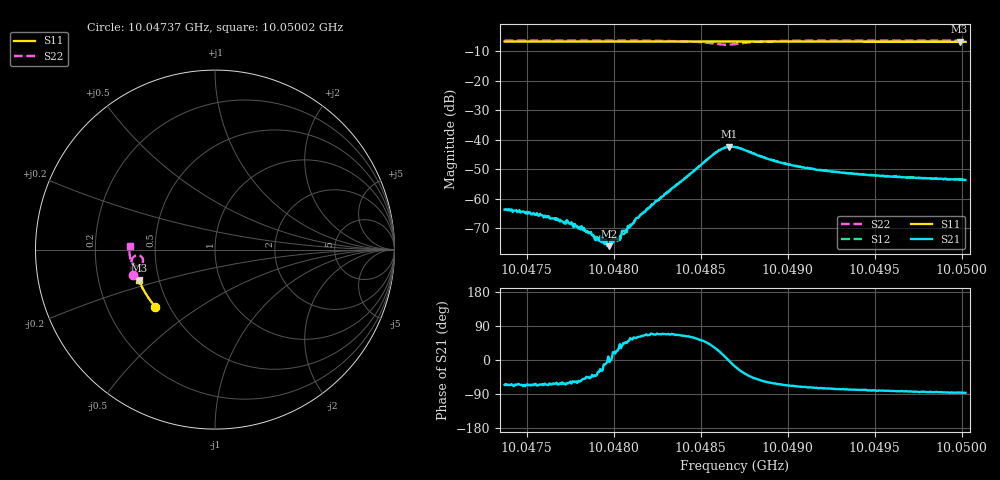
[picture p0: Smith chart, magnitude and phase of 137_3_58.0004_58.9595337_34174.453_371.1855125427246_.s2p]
#  HZ  S  RI  R  50.00
! Rohde & Schwarz Vector Network Analyzer
! Rohde-Schwarz,ZNB20-2Port,1311601062101988,3.16
! Created: UTC 3/21/2024, 12:56:22 AM
! freq[Hz]  re:S11  im:S11  re:S21  im:S21  re:S12  im:S12  re:S22  im:S22
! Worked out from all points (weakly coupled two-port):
!   401 points, 10.04737 GHz to 10.05002 GHz, reference 50 ohm
!   highest |S21| = -42.40 dB at 10.04866 GHz (marker M1); lowest = -76.1 dB at 10.04798 GHz (marker M2)
!   lowest |S11| = -6.8 dB at 10.04999 GHz (marker M3), VSWR 2.67, Z = 19.3 - j8.44 ohm
!   |S11| at or under -10 dB: nowhere
!   |S22| runs from -7.8 to -6.4 dB; largest |S21 - S12| = 0.00055
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1.0047374e10  -0.3316 -0.3191  0.000268 -0.000594  0.000289 -0.000608  -0.4579 -0.1395
1.0047632e10  -0.3429 -0.3061  0.000219 -0.000412  0.000226 -0.000429  -0.4622 -0.1216
1.0047744e10  -0.3476 -0.3003  0.000192 -0.000327  0.00021 -0.000309  -0.4638 -0.1132
1.0047817e10  -0.3506 -0.2966  0.000209 -0.000269  0.000168 -0.000253  -0.4648 -0.1076
1.004787e10  -0.3529 -0.2938  0.000183 -0.000185  0.000215 -0.000167  -0.4652 -0.1036
1.0047903e10  -0.3542 -0.2921  0.000156 -0.000131  0.000194 -0.000115  -0.4656 -0.1009
1.0047936e10  -0.3556 -0.2904  0.000193 -0.000102  0.000173 -6.92e-05  -0.4659 -0.0982
1.0047963e10  -0.3566 -0.2889  0.000157 -1.56e-05  0.000187 1.17e-05  -0.4663 -0.0961
1.0047976e10  -0.357 -0.2882  0.000156 -1.47e-05  0.000193 6.67e-06  -0.4665 -0.095
1.0048036e10  -0.3595 -0.2851  0.000148 0.000133  0.000168 0.00016  -0.4668 -0.0899
1.0048055e10  -0.3601 -0.284  0.000204 0.000201  0.000165 0.000187  -0.467 -0.0883
1.0048082e10  -0.3613 -0.2825  0.000222 0.000265  0.000183 0.000252  -0.4671 -0.0858
1.0048142e10  -0.3637 -0.2794  0.000232 0.00042  0.000191 0.00044  -0.4671 -0.0804
1.0048261e10  -0.3683 -0.2729  0.000365 0.000908  0.000313 0.000915  -0.4663 -0.068
1.0048578e10  -0.3794 -0.2552  0.00483 0.00317  0.00463 0.00348  -0.4222 -0.0324
1.0048664e10  -0.3821 -0.2507  0.00758 -0.000356  0.00762 0.000132  -0.4012 -0.065
1.0048697e10  -0.3833 -0.2491  0.00716 -0.00222  0.00733 -0.00173  -0.4081 -0.08
1.0048936e10  -0.3918 -0.2358  0.00194 -0.0038  0.00219 -0.00372  -0.4624 -0.0726
1.0049141e10  -0.3984 -0.2238  0.000932 -0.00305  0.00113 -0.00301  -0.4716 -0.0502
1.0049584e10  -0.4112 -0.1974  0.000357 -0.00236  0.000488 -0.00235  -0.4764 -0.0137
1.0049988e10  -0.4213 -0.173  0.000147 -0.00209  0.000252 -0.00213  -0.4763 0.0156
1.0050021e10  -0.4223 -0.1709  0.000118 -0.00206  0.000243 -0.00208  -0.4763 0.0177
